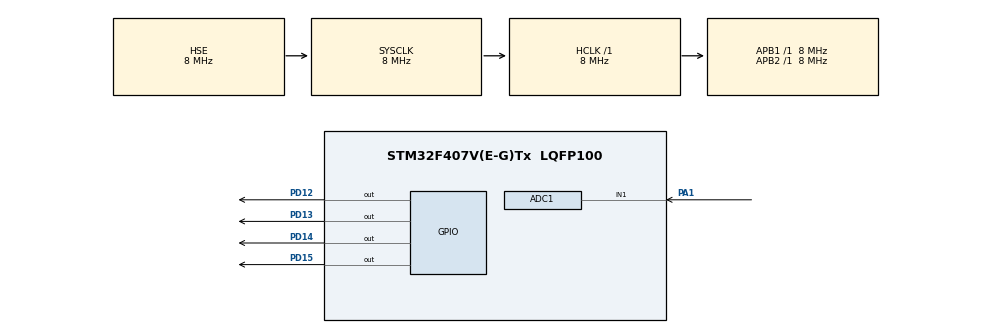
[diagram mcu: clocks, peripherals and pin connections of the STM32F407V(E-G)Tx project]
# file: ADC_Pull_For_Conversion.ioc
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ADC1.Channel-0\#ChannelRegularConversion=ADC_CHANNEL_1
ADC1.ContinuousConvMode=ENABLE
ADC1.NbrOfConversionFlag=1
ADC1.Rank-0\#ChannelRegularConversion=1
ADC1.SamplingTime-0\#ChannelRegularConversion=ADC_SAMPLETIME_56CYCLES
ADC1.master=1
Mcu.Family=STM32F4
Mcu.Name=STM32F407V(E-G)Tx
Mcu.Package=LQFP100
NVIC.PriorityGroup=NVIC_PRIORITYGROUP_4
PA1.Signal=ADCx_IN1
PA13.Mode=Serial_Wire
PA13.Signal=SYS_JTMS-SWDIO
PA14.Mode=Serial_Wire
PA14.Signal=SYS_JTCK-SWCLK
PD12.Signal=GPIO_Output
PD13.Signal=GPIO_Output
PD14.Signal=GPIO_Output
PD15.Signal=GPIO_Output
PH0-OSC_IN.Mode=HSE-External-Oscillator
PH0-OSC_IN.Signal=RCC_OSC_IN
PH1-OSC_OUT.Mode=HSE-External-Oscillator
PH1-OSC_OUT.Signal=RCC_OSC_OUT
ProjectManager.HeapSize=0x200
ProjectManager.StackSize=0x400
ProjectManager.TargetToolchain=STM32CubeIDE
RCC.AHBFreq_Value=8000000
RCC.APB1Freq_Value=8000000
RCC.APB1TimFreq_Value=8000000
RCC.APB2Freq_Value=8000000
RCC.APB2TimFreq_Value=8000000
RCC.CortexFreq_Value=8000000
RCC.HCLKFreq_Value=8000000
RCC.HSE_VALUE=8000000
RCC.HSI_VALUE=16000000
RCC.LSE_VALUE=32768
RCC.SYSCLKFreq_VALUE=8000000
RCC.SYSCLKSource=RCC_SYSCLKSOURCE_HSE
RCC.VCOOutputFreq_Value=192000000
SH.ADCx_IN1.0=ADC1_IN1,IN1
board=custom

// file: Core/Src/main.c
/* USER CODE BEGIN Header */
/**
  ******************************************************************************
  * @file           : main.c
  * @brief          : Main program body
  ******************************************************************************
  * @attention
  *
  * Copyright (c) 2024 STMicroelectronics.
  * All rights reserved.
  *
  * This software is licensed under terms that can be found in the LICENSE file
  * in the root directory of this software component.
  * If no LICENSE file comes with this software, it is provided AS-IS.
  *
  ******************************************************************************
  */
/* USER CODE END Header */
#include "main.h"

ADC_HandleTypeDef hadc1;

void SystemClock_Config(void);
static void MX_GPIO_Init(void);
static void MX_ADC1_Init(void);

/* USER CODE BEGIN 0 */
int adc_value = 0;
float adc_voltage = 0;
/* USER CODE END 0 */

int main(void)
{

  /* MCU Configuration--------------------------------------------------------*/

  /* Reset of all peripherals, Initializes the Flash interface and the Systick. */
  HAL_Init();

  /* Configure the system clock */
  SystemClock_Config();

  /* Initialize all configured peripherals */
  MX_GPIO_Init();
  MX_ADC1_Init();

  /* Infinite loop */
  while (1)
  {

    /* USER CODE BEGIN 3 */
	  HAL_ADC_Start(&hadc1);
	  if(HAL_ADC_PollForConversion(&hadc1, 100000) == HAL_OK){
		  adc_value = HAL_ADC_GetValue(&hadc1);
		  // digital değer carpı 3.3 volt bölü referans 12 bit yani 2^12 = 4096-1
		  adc_voltage = adc_value*3.3/4095;

		  //led kontrol aşaması
		  if(adc_value < 1024){
			  HAL_GPIO_WritePin(GPIOD, GPIO_PIN_12, GPIO_PIN_SET);	 //PD12 yeşil yandı
			  HAL_GPIO_WritePin(GPIOD, GPIO_PIN_15, GPIO_PIN_RESET); //PD15 mavi söndü
			  HAL_GPIO_WritePin(GPIOD, GPIO_PIN_14, GPIO_PIN_RESET); //PD14 kırmızı söndü
			  HAL_GPIO_WritePin(GPIOD, GPIO_PIN_13, GPIO_PIN_RESET); //PD13 turuncu söndü
		  }
		  if(adc_value > 1024 && adc_value < 2048){
			  HAL_GPIO_WritePin(GPIOD, GPIO_PIN_13, GPIO_PIN_SET); //PD13 turuncu yandı
			  HAL_GPIO_WritePin(GPIOD, GPIO_PIN_12, GPIO_PIN_RESET); //PD12 yeşil söndü
			  HAL_GPIO_WritePin(GPIOD, GPIO_PIN_15, GPIO_PIN_RESET); //PD15 mavi söndü
			  HAL_GPIO_WritePin(GPIOD, GPIO_PIN_14, GPIO_PIN_RESET); //PD14 kırmızı söndü
		  }
		  if(adc_value >2048 && adc_value < 3072){
			  HAL_GPIO_WritePin(GPIOD, GPIO_PIN_14, GPIO_PIN_SET); //PD14 kırmızı yandı
			  HAL_GPIO_WritePin(GPIOD, GPIO_PIN_12, GPIO_PIN_RESET); //PD12 yeşil söndü
			  HAL_GPIO_WritePin(GPIOD, GPIO_PIN_15, GPIO_PIN_RESET); //PD15 mavi söndü
			  HAL_GPIO_WritePin(GPIOD, GPIO_PIN_13, GPIO_PIN_RESET); //PD13 turuncu söndü
		  }
		  else{
			  HAL_GPIO_WritePin(GPIOD, GPIO_PIN_15, GPIO_PIN_SET); //PD15 mavi yandı
			  HAL_GPIO_WritePin(GPIOD, GPIO_PIN_12, GPIO_PIN_RESET); //PD12 yeşil söndü
			  HAL_GPIO_WritePin(GPIOD, GPIO_PIN_14, GPIO_PIN_RESET); //PD14 kırmızı söndü
			  HAL_GPIO_WritePin(GPIOD, GPIO_PIN_13, GPIO_PIN_RESET); //PD13 turuncu söndü
		  }
	  }
	  HAL_ADC_Stop(&hadc1);
  }
  /* USER CODE END 3 */
}

void SystemClock_Config(void)
{
  RCC_OscInitTypeDef RCC_OscInitStruct = {0};
  RCC_ClkInitTypeDef RCC_ClkInitStruct = {0};

  /** Configure the main internal regulator output voltage
  */
  __HAL_RCC_PWR_CLK_ENABLE();
  __HAL_PWR_VOLTAGESCALING_CONFIG(PWR_REGULATOR_VOLTAGE_SCALE1);

  /** Initializes the RCC Oscillators according to the specified parameters
  * in the RCC_OscInitTypeDef structure.
  */
  RCC_OscInitStruct.OscillatorType = RCC_OSCILLATORTYPE_HSE;
  RCC_OscInitStruct.HSEState = RCC_HSE_ON;
  RCC_OscInitStruct.PLL.PLLState = RCC_PLL_NONE;
  if (HAL_RCC_OscConfig(&RCC_OscInitStruct) != HAL_OK)
  {
    Error_Handler();
  }

  /** Initializes the CPU, AHB and APB buses clocks
  */
  RCC_ClkInitStruct.ClockType = RCC_CLOCKTYPE_HCLK|RCC_CLOCKTYPE_SYSCLK
                              |RCC_CLOCKTYPE_PCLK1|RCC_CLOCKTYPE_PCLK2;
  RCC_ClkInitStruct.SYSCLKSource = RCC_SYSCLKSOURCE_HSE;
  RCC_ClkInitStruct.AHBCLKDivider = RCC_SYSCLK_DIV1;
  RCC_ClkInitStruct.APB1CLKDivider = RCC_HCLK_DIV1;
  RCC_ClkInitStruct.APB2CLKDivider = RCC_HCLK_DIV1;

  if (HAL_RCC_ClockConfig(&RCC_ClkInitStruct, FLASH_LATENCY_0) != HAL_OK)
  {
    Error_Handler();
  }
}

static void MX_ADC1_Init(void)
{

  ADC_ChannelConfTypeDef sConfig = {0};

  /** Configure the global features of the ADC (Clock, Resolution, Data Alignment and number of conversion)
  */
  hadc1.Instance = ADC1;
  hadc1.Init.ClockPrescaler = ADC_CLOCK_SYNC_PCLK_DIV2;
  hadc1.Init.Resolution = ADC_RESOLUTION_12B;
  hadc1.Init.ScanConvMode = DISABLE;
  hadc1.Init.ContinuousConvMode = ENABLE;
  hadc1.Init.DiscontinuousConvMode = DISABLE;
  hadc1.Init.ExternalTrigConvEdge = ADC_EXTERNALTRIGCONVEDGE_NONE;
  hadc1.Init.ExternalTrigConv = ADC_SOFTWARE_START;
  hadc1.Init.DataAlign = ADC_DATAALIGN_RIGHT;
  hadc1.Init.NbrOfConversion = 1;
  hadc1.Init.DMAContinuousRequests = DISABLE;
  hadc1.Init.EOCSelection = ADC_EOC_SINGLE_CONV;
  if (HAL_ADC_Init(&hadc1) != HAL_OK)
  {
    Error_Handler();
  }

  /** Configure for the selected ADC regular channel its corresponding rank in the sequencer and its sample time.
  */
  sConfig.Channel = ADC_CHANNEL_1;
  sConfig.Rank = 1;
  sConfig.SamplingTime = ADC_SAMPLETIME_56CYCLES;
  if (HAL_ADC_ConfigChannel(&hadc1, &sConfig) != HAL_OK)
  {
    Error_Handler();
  }

}

static void MX_GPIO_Init(void)
{
  GPIO_InitTypeDef GPIO_InitStruct = {0};

  /* GPIO Ports Clock Enable */
  __HAL_RCC_GPIOH_CLK_ENABLE();
  __HAL_RCC_GPIOA_CLK_ENABLE();
  __HAL_RCC_GPIOD_CLK_ENABLE();

  /*Configure GPIO pin Output Level */
  HAL_GPIO_WritePin(GPIOD, GPIO_PIN_12|GPIO_PIN_13|GPIO_PIN_14|GPIO_PIN_15, GPIO_PIN_RESET);

  /*Configure GPIO pins : PD12 PD13 PD14 PD15 */
  GPIO_InitStruct.Pin = GPIO_PIN_12|GPIO_PIN_13|GPIO_PIN_14|GPIO_PIN_15;
  GPIO_InitStruct.Mode = GPIO_MODE_OUTPUT_PP;
  GPIO_InitStruct.Pull = GPIO_NOPULL;
  GPIO_InitStruct.Speed = GPIO_SPEED_FREQ_LOW;
  HAL_GPIO_Init(GPIOD, &GPIO_InitStruct);

}

void Error_Handler(void)
{
  __disable_irq();
  while (1)
  {
  }
}
